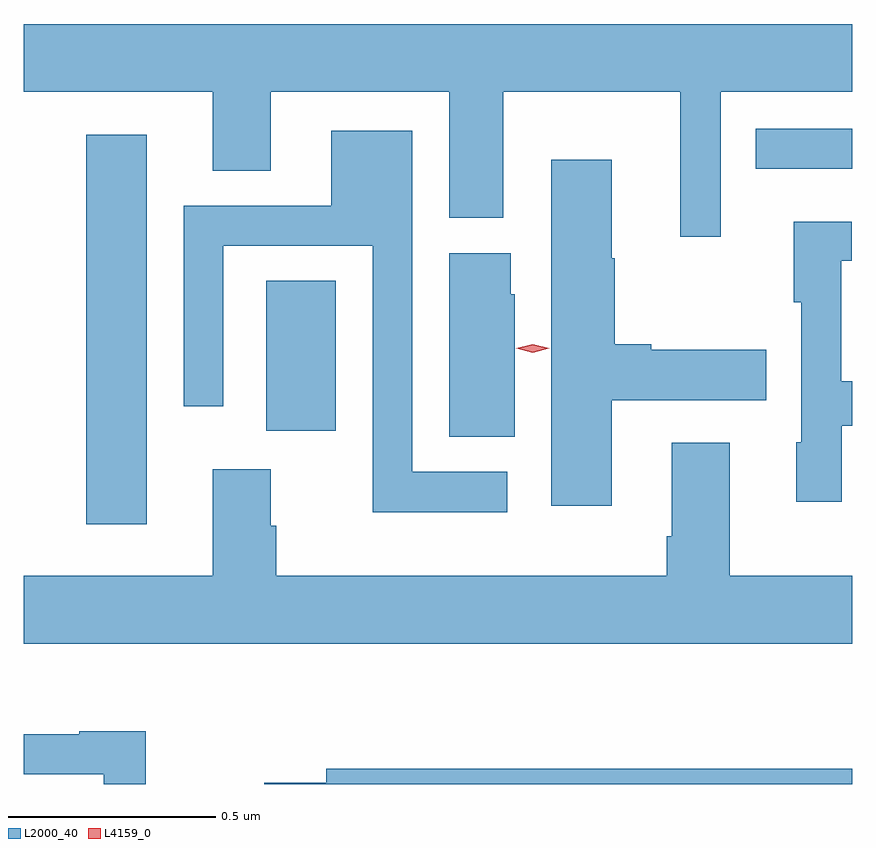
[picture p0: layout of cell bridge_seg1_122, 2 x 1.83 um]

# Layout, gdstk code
import gdstk
lib = gdstk.Library(unit=1e-6, precision=1e-09)
def R(c, l, rs):  # rectangles x0, y0, x1, y1
    for r in rs: c.add(gdstk.rectangle(r[:2], r[2:], *l))
def P(c, l, *ps):  # polygons
    for p in ps: c.add(gdstk.Polygon(p, *l))
L2000_40 = (2000, 40)
L4159_0 = (4159, 0)

bridge_seg1_122 = lib.new_cell('bridge_seg1_122')
R(bridge_seg1_122, L2000_40, [(273.686,505.401,273.832,506.341), (274.121,505.626,274.288,505.988), (275.302,506.259,275.535,506.355)])
P(bridge_seg1_122, L2000_40, [(275.217,506.444),(275.535,506.444),(275.535,506.608),(273.535,506.608),(273.535,506.444),(273.992,506.444),(273.992,506.254),(274.132,506.254),(274.132,506.444),(274.562,506.444),(274.562,506.14),(274.693,506.14),(274.693,506.444),(275.12,506.444),(275.12,506.094),(275.217,506.094)],
  [(274.702,505.527),(274.473,505.527),(274.473,506.35),(274.277,506.35),(274.277,506.169),(273.921,506.169),(273.921,505.686),(274.017,505.686),(274.017,506.073),(274.377,506.073),(274.377,505.43),(274.702,505.43)],
  [(274.954,505.7),(275.327,505.7),(275.327,505.822),(275.05,505.822),(275.05,505.835),(274.962,505.835),(274.962,506.043),(274.954,506.043),(274.954,506.281),(274.808,506.281),(274.808,505.446),(274.954,505.446)],
  [(275.509,505.638),(275.535,505.638),(275.535,505.746),(275.508,505.746),(275.508,506.037),(275.533,506.037),(275.533,506.131),(275.393,506.131),(275.393,505.937),(275.412,505.937),(275.412,505.599),(275.399,505.599),(275.399,505.455),(275.509,505.455)],
  [(274.72,505.956),(274.711,505.956),(274.711,506.055),(274.562,506.055),(274.562,505.612),(274.72,505.612)],
  [(275.535,505.276),(275.239,505.276),(275.239,505.597),(275.099,505.597),(275.099,505.372),(275.087,505.372),(275.087,505.276),(274.145,505.276),(274.145,505.397),(274.132,505.397),(274.132,505.534),(273.992,505.534),(273.992,505.276),(273.535,505.276),(273.535,505.112),(275.535,505.112)],
  [(273.83,504.901),(273.669,504.901),(273.669,504.894),(273.535,504.894),(273.535,504.798),(273.729,504.798),(273.729,504.774),(273.83,504.774)],
  [(275.535,504.811),(274.265,504.811),(274.265,504.777),(274.116,504.777),(274.116,504.774),(275.535,504.774)])
P(bridge_seg1_122, L4159_0, [(274.764,505.815),(274.724,505.825),(274.724,505.825),(274.724,505.825),(274.764,505.835),(274.804,505.825),(274.804,505.825),(274.804,505.825)])

lib.write_gds('bridge_seg1_122.gds')
